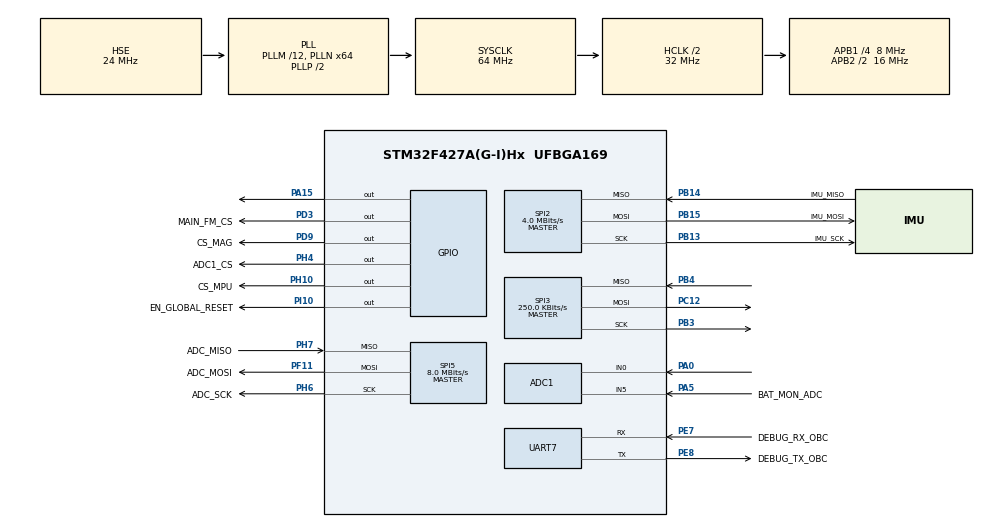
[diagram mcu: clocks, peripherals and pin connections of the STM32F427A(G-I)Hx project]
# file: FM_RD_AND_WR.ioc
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ADC1.Channel-3\#ChannelRegularConversion=ADC_CHANNEL_0
ADC1.NbrOfConversionFlag=1
ADC1.Rank-3\#ChannelRegularConversion=1
ADC1.SamplingTime-3\#ChannelRegularConversion=ADC_SAMPLETIME_3CYCLES
ADC1.master=1
Mcu.Family=STM32F4
Mcu.Name=STM32F427A(G-I)Hx
Mcu.Package=UFBGA169
NVIC.PriorityGroup=NVIC_PRIORITYGROUP_4
PA0/WKUP.Signal=ADCx_IN0
PA13.Mode=Serial_Wire
PA13.Signal=SYS_JTMS-SWDIO
PA14.Mode=Serial_Wire
PA14.Signal=SYS_JTCK-SWCLK
PA15.Signal=GPIO_Output
PA5.GPIO_Label=BAT_MON_ADC
PA5.Signal=ADCx_IN5
PB13.GPIO_Label=IMU_SCK
PB13.Mode=Full_Duplex_Master
PB13.Signal=SPI2_SCK
PB14.GPIO_Label=IMU_MISO
PB14.Mode=Full_Duplex_Master
PB14.Signal=SPI2_MISO
PB15.GPIO_Label=IMU_MOSI
PB15.Mode=Full_Duplex_Master
PB15.Signal=SPI2_MOSI
PB3.Mode=Full_Duplex_Master
PB3.Signal=SPI3_SCK
PB4.Mode=Full_Duplex_Master
PB4.Signal=SPI3_MISO
PC12.Mode=Full_Duplex_Master
PC12.Signal=SPI3_MOSI
PD3.GPIO_Label=MAIN_FM_CS
PD3.Signal=GPIO_Output
PD9.GPIO_Label=CS_MAG
PD9.Signal=GPIO_Output
PE7.GPIO_Label=DEBUG_RX_OBC
PE7.Mode=Asynchronous
PE7.Signal=UART7_RX
PE8.GPIO_Label=DEBUG_TX_OBC
PE8.Mode=Asynchronous
PE8.Signal=UART7_TX
PF11.GPIO_Label=ADC_MOSI
PF11.Mode=Full_Duplex_Master
PF11.Signal=SPI5_MOSI
PH0/OSC_IN.Mode=HSE-External-Oscillator
PH0/OSC_IN.Signal=RCC_OSC_IN
PH1/OSC_OUT.Mode=HSE-External-Oscillator
PH1/OSC_OUT.Signal=RCC_OSC_OUT
PH10.GPIO_Label=CS_MPU
PH10.Signal=GPIO_Output
PH4.GPIO_Label=ADC1_CS
PH4.Signal=GPIO_Output
PH6.GPIO_Label=ADC_SCK
PH6.Mode=Full_Duplex_Master
PH6.Signal=SPI5_SCK
PH7.GPIO_Label=ADC_MISO
PH7.Mode=Full_Duplex_Master
PH7.Signal=SPI5_MISO
PI10.GPIO_Label=EN_GLOBAL_RESET
PI10.Signal=GPIO_Output
ProjectManager.HeapSize=0x200
ProjectManager.StackSize=0x400
ProjectManager.TargetToolchain=STM32CubeIDE
RCC.48MHZClocksFreq_Value=32000000
RCC.AHBCLKDivider=RCC_SYSCLK_DIV2
RCC.AHBFreq_Value=32000000
RCC.APB1CLKDivider=RCC_HCLK_DIV4
RCC.APB1Freq_Value=8000000
RCC.APB1TimFreq_Value=16000000
RCC.APB2CLKDivider=RCC_HCLK_DIV2
RCC.APB2Freq_Value=16000000
RCC.APB2TimFreq_Value=32000000
RCC.CortexFreq_Value=32000000
RCC.HCLKFreq_Value=32000000
RCC.HSE_VALUE=24000000
RCC.HSI_VALUE=16000000
RCC.LSE_VALUE=32768
RCC.MSIAutoCalibration=DISABLED
RCC.MSICalibrationValue=0
RCC.PLLM=12
RCC.PLLN=64
RCC.PLLSourceVirtual=RCC_PLLSOURCE_HSE
RCC.SYSCLKFreq_VALUE=64000000
RCC.SYSCLKSource=RCC_SYSCLKSOURCE_PLLCLK
RCC.VCOOutputFreq_Value=128000000
SH.ADCx_IN0.0=ADC1_IN0,IN0
SH.ADCx_IN5.0=ADC1_IN5,IN5
SPI2.BaudRatePrescaler=SPI_BAUDRATEPRESCALER_2
SPI2.CalculateBaudRate=4.0 MBits/s
SPI2.Direction=SPI_DIRECTION_2LINES
SPI2.Mode=SPI_MODE_MASTER
SPI2.VirtualType=VM_MASTER
SPI3.BaudRatePrescaler=SPI_BAUDRATEPRESCALER_32
SPI3.CalculateBaudRate=250.0 KBits/s
SPI3.Direction=SPI_DIRECTION_2LINES
SPI3.Mode=SPI_MODE_MASTER
SPI3.VirtualType=VM_MASTER
SPI5.BaudRatePrescaler=SPI_BAUDRATEPRESCALER_2
SPI5.CalculateBaudRate=8.0 MBits/s
SPI5.Direction=SPI_DIRECTION_2LINES
SPI5.Mode=SPI_MODE_MASTER
SPI5.VirtualType=VM_MASTER
UART7.VirtualMode=Asynchronous
board=custom

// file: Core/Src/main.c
/* USER CODE BEGIN Header */
/**
 ******************************************************************************
 * @file           : main.c
 * @brief          : Main program body – Temp_BAT Data Collection
 ******************************************************************************
 */
/* USER CODE END Header */
#include "main.h"

/* USER CODE BEGIN Includes */
#include <stdio.h>
#include <string.h>
#include <math.h>

// --- REQUIRED ---
#include "flash_memory.h"
#include "ADS7953SDBT.h"

// --- COMMENTED OUT UNNECESSARY ---
/*
#include "MPU_sensor.h"
#include "Mag_sensor.h"
*/
/* USER CODE END Includes */

/* USER CODE BEGIN PTD */
// --- ADDED BATTERY DATA STRUCTURE FOR FLASH MEMORY ---
typedef struct {
    uint16_t raw_val;
    float voltage; // We are storing the temperature inside this float
} BAT_ProcessedData;
/* USER CODE END PTD */

/* USER CODE BEGIN PD */
#define FLASH_ID_STORAGE_ADDR 0x0000A000
#define TOTAL_SAMPLES         60

#define BAT_DATA_BASE         0x0000B000
#define BAT_ENTRY_SIZE        sizeof(BAT_ProcessedData)
/* USER CODE END PD */

ADC_HandleTypeDef hadc1;

SPI_HandleTypeDef hspi2;
SPI_HandleTypeDef hspi3;
SPI_HandleTypeDef hspi5;

UART_HandleTypeDef huart7;

/* USER CODE BEGIN PV */
// --- ACTIVE VARIABLES ---
uint16_t sample_count = 0;
uint8_t collection_complete = 0;

// --- SINGLE EXTERNAL ADC BUFFERS ---
uint16_t ext_adc1[16];
float ext_adc1_conv[16];
float ext_adc1_temp[16];
/* USER CODE END PV */

void SystemClock_Config(void);
static void MX_GPIO_Init(void);
static void MX_UART7_Init(void);
static void MX_SPI3_Init(void);
static void MX_SPI2_Init(void);
static void MX_ADC1_Init(void);
static void MX_SPI5_Init(void);

int main(void)
{

  /* MCU Configuration--------------------------------------------------------*/

  /* Reset of all peripherals, Initializes the Flash interface and the Systick. */
  HAL_Init();

  /* Configure the system clock */
  SystemClock_Config();

  /* Initialize all configured peripherals */
  MX_GPIO_Init();
  MX_UART7_Init();
  MX_SPI3_Init();
  MX_SPI2_Init();
  MX_ADC1_Init();
  MX_SPI5_Init();
  /* USER CODE BEGIN 2 */
  char uart_buf[256];

  // Give the hardware 100ms to wake up after bringing EN_GLOBAL_RESET HIGH in MX_GPIO_Init
  HAL_Delay(100);

  // --- FLASH MEMORY: Read and verify Chip ID (SPI3) ---
  sprintf(uart_buf, "\r\n=== Flash Chip ID Test ===\r\n");
  HAL_UART_Transmit(&huart7, (uint8_t*)uart_buf, strlen(uart_buf), 100);

  DEVICE_ID chip_id, readback_id;
  Read_ID(&hspi3, &chip_id);
  sprintf(uart_buf, "Read Chip ID: Manuf=0x%02X, Type=0x%02X, Cap=0x%02X\r\n",
          chip_id.MAN_ID, chip_id.M_TYPE, chip_id.M_CAP);
  HAL_UART_Transmit(&huart7, (uint8_t*)uart_buf, strlen(uart_buf), 100);

  Sector_Erase(&hspi3, FLASH_ID_STORAGE_ADDR, 4);
  HAL_Delay(200);
  Page_Write(&hspi3, FLASH_ID_STORAGE_ADDR, (uint8_t*)&chip_id, sizeof(DEVICE_ID));
  HAL_Delay(10);

  memset(&readback_id, 0, sizeof(DEVICE_ID));
  Bulk_Read(&hspi3, FLASH_ID_STORAGE_ADDR, (uint8_t*)&readback_id, sizeof(DEVICE_ID));
  sprintf(uart_buf, "Verified ID: Manuf=0x%02X, Type=0x%02X, Cap=0x%02X\r\n",
          readback_id.MAN_ID, readback_id.M_TYPE, readback_id.M_CAP);
  HAL_UART_Transmit(&huart7, (uint8_t*)uart_buf, strlen(uart_buf), 100);

  // Erase the data sector once before collection starts
  Sector_Erase(&hspi3, BAT_DATA_BASE, 4);
  HAL_Delay(200);

  sample_count = 0;
  collection_complete = 0;

  sprintf(uart_buf, "\r\nStarting Temp_BAT (Battery Temperature) collection...\r\n");
  HAL_UART_Transmit(&huart7, (uint8_t*)uart_buf, strlen(uart_buf), 100);

  /* USER CODE END 2 */

  /* Infinite loop */
  /* USER CODE BEGIN WHILE */
  while (1)
  {
    if (!collection_complete) {

      // --- 1. Read the Single External ADS7953 ---
      ADC_Operate(ext_adc1);

      // --- 2. Convert Raw data to Voltage using 2.5V Reference ---
      ADC1_RawConv_Data(ext_adc1_conv, ext_adc1);

      // --- 3. Apply Resistor Divider & Temperature Math ---
      ADC1_Volt_Temp_Conv(ext_adc1_conv, ext_adc1_temp);

      // --- 4. Prepare Battery Data (CHANNEL 9 is Temp_BAT!) ---
      BAT_ProcessedData bat_proc;
      bat_proc.raw_val = ext_adc1[9];          // Raw 12-bit value of Channel 9
      bat_proc.voltage = ext_adc1_temp[9];     // Fully calculated temperature

      // --- 5. Write to Flash ---
      uint32_t bat_addr = BAT_DATA_BASE + sample_count * BAT_ENTRY_SIZE;
      Page_Write(&hspi3, bat_addr, (uint8_t*)&bat_proc, BAT_ENTRY_SIZE);
      HAL_Delay(10);

      // --- 6. Print to UART Console ---
      sprintf(uart_buf, "Sample %2d: Temp_BAT Raw=%4d | Temp=%.2f C\r\n",
              sample_count, bat_proc.raw_val, bat_proc.voltage / 100.0f);
      HAL_UART_Transmit(&huart7, (uint8_t*)uart_buf, strlen(uart_buf), 100);

      sample_count++;

      if (sample_count >= TOTAL_SAMPLES) {
        collection_complete = 1;
        sprintf(uart_buf, "\r\nData collection complete. %d samples stored.\r\n", TOTAL_SAMPLES);
        HAL_UART_Transmit(&huart7, (uint8_t*)uart_buf, strlen(uart_buf), 100);
      }

      HAL_Delay(1000);   // 1 second interval
    } else {
      HAL_Delay(1000);
    }
    /* USER CODE END WHILE */

  }
}

void SystemClock_Config(void)
{
  RCC_OscInitTypeDef RCC_OscInitStruct = {0};
  RCC_ClkInitTypeDef RCC_ClkInitStruct = {0};

  /** Configure the main internal regulator output voltage
  */
  __HAL_RCC_PWR_CLK_ENABLE();
  __HAL_PWR_VOLTAGESCALING_CONFIG(PWR_REGULATOR_VOLTAGE_SCALE3);

  /** Initializes the RCC Oscillators according to the specified parameters
  * in the RCC_OscInitTypeDef structure.
  */
  RCC_OscInitStruct.OscillatorType = RCC_OSCILLATORTYPE_HSE;
  RCC_OscInitStruct.HSEState = RCC_HSE_ON;
  RCC_OscInitStruct.PLL.PLLState = RCC_PLL_ON;
  RCC_OscInitStruct.PLL.PLLSource = RCC_PLLSOURCE_HSE;
  RCC_OscInitStruct.PLL.PLLM = 12;
  RCC_OscInitStruct.PLL.PLLN = 64;
  RCC_OscInitStruct.PLL.PLLP = RCC_PLLP_DIV2;
  RCC_OscInitStruct.PLL.PLLQ = 4;
  if (HAL_RCC_OscConfig(&RCC_OscInitStruct) != HAL_OK)
  {
    Error_Handler();
  }

  /** Initializes the CPU, AHB and APB buses clocks
  */
  RCC_ClkInitStruct.ClockType = RCC_CLOCKTYPE_HCLK|RCC_CLOCKTYPE_SYSCLK
                              |RCC_CLOCKTYPE_PCLK1|RCC_CLOCKTYPE_PCLK2;
  RCC_ClkInitStruct.SYSCLKSource = RCC_SYSCLKSOURCE_PLLCLK;
  RCC_ClkInitStruct.AHBCLKDivider = RCC_SYSCLK_DIV2;
  RCC_ClkInitStruct.APB1CLKDivider = RCC_HCLK_DIV4;
  RCC_ClkInitStruct.APB2CLKDivider = RCC_HCLK_DIV2;

  if (HAL_RCC_ClockConfig(&RCC_ClkInitStruct, FLASH_LATENCY_1) != HAL_OK)
  {
    Error_Handler();
  }
}

static void MX_ADC1_Init(void)
{

  ADC_ChannelConfTypeDef sConfig = {0};

  /** Configure the global features of the ADC (Clock, Resolution, Data Alignment and number of conversion)
  */
  hadc1.Instance = ADC1;
  hadc1.Init.ClockPrescaler = ADC_CLOCK_SYNC_PCLK_DIV2;
  hadc1.Init.Resolution = ADC_RESOLUTION_12B;
  hadc1.Init.ScanConvMode = DISABLE;
  hadc1.Init.ContinuousConvMode = DISABLE;
  hadc1.Init.DiscontinuousConvMode = DISABLE;
  hadc1.Init.ExternalTrigConvEdge = ADC_EXTERNALTRIGCONVEDGE_NONE;
  hadc1.Init.ExternalTrigConv = ADC_SOFTWARE_START;
  hadc1.Init.DataAlign = ADC_DATAALIGN_RIGHT;
  hadc1.Init.NbrOfConversion = 1;
  hadc1.Init.DMAContinuousRequests = DISABLE;
  hadc1.Init.EOCSelection = ADC_EOC_SINGLE_CONV;
  if (HAL_ADC_Init(&hadc1) != HAL_OK)
  {
    Error_Handler();
  }

  /** Configure for the selected ADC regular channel its corresponding rank in the sequencer and its sample time.
  */
  sConfig.Channel = ADC_CHANNEL_0;
  sConfig.Rank = 1;
  sConfig.SamplingTime = ADC_SAMPLETIME_3CYCLES;
  if (HAL_ADC_ConfigChannel(&hadc1, &sConfig) != HAL_OK)
  {
    Error_Handler();
  }

}

static void MX_SPI2_Init(void)
{

  /* SPI2 parameter configuration*/
  hspi2.Instance = SPI2;
  hspi2.Init.Mode = SPI_MODE_MASTER;
  hspi2.Init.Direction = SPI_DIRECTION_2LINES;
  hspi2.Init.DataSize = SPI_DATASIZE_8BIT;
  hspi2.Init.CLKPolarity = SPI_POLARITY_LOW;
  hspi2.Init.CLKPhase = SPI_PHASE_1EDGE;
  hspi2.Init.NSS = SPI_NSS_SOFT;
  hspi2.Init.BaudRatePrescaler = SPI_BAUDRATEPRESCALER_2;
  hspi2.Init.FirstBit = SPI_FIRSTBIT_MSB;
  hspi2.Init.TIMode = SPI_TIMODE_DISABLE;
  hspi2.Init.CRCCalculation = SPI_CRCCALCULATION_DISABLE;
  hspi2.Init.CRCPolynomial = 10;
  if (HAL_SPI_Init(&hspi2) != HAL_OK)
  {
    Error_Handler();
  }

}

static void MX_SPI3_Init(void)
{

  /* SPI3 parameter configuration*/
  hspi3.Instance = SPI3;
  hspi3.Init.Mode = SPI_MODE_MASTER;
  hspi3.Init.Direction = SPI_DIRECTION_2LINES;
  hspi3.Init.DataSize = SPI_DATASIZE_8BIT;
  hspi3.Init.CLKPolarity = SPI_POLARITY_LOW;
  hspi3.Init.CLKPhase = SPI_PHASE_1EDGE;
  hspi3.Init.NSS = SPI_NSS_SOFT;
  hspi3.Init.BaudRatePrescaler = SPI_BAUDRATEPRESCALER_32;
  hspi3.Init.FirstBit = SPI_FIRSTBIT_MSB;
  hspi3.Init.TIMode = SPI_TIMODE_DISABLE;
  hspi3.Init.CRCCalculation = SPI_CRCCALCULATION_DISABLE;
  hspi3.Init.CRCPolynomial = 10;
  if (HAL_SPI_Init(&hspi3) != HAL_OK)
  {
    Error_Handler();
  }

}

static void MX_SPI5_Init(void)
{

  /* SPI5 parameter configuration*/
  hspi5.Instance = SPI5;
  hspi5.Init.Mode = SPI_MODE_MASTER;
  hspi5.Init.Direction = SPI_DIRECTION_2LINES;
  hspi5.Init.DataSize = SPI_DATASIZE_8BIT;
  hspi5.Init.CLKPolarity = SPI_POLARITY_LOW;
  hspi5.Init.CLKPhase = SPI_PHASE_1EDGE;
  hspi5.Init.NSS = SPI_NSS_SOFT;
  hspi5.Init.BaudRatePrescaler = SPI_BAUDRATEPRESCALER_2;
  hspi5.Init.FirstBit = SPI_FIRSTBIT_MSB;
  hspi5.Init.TIMode = SPI_TIMODE_DISABLE;
  hspi5.Init.CRCCalculation = SPI_CRCCALCULATION_DISABLE;
  hspi5.Init.CRCPolynomial = 10;
  if (HAL_SPI_Init(&hspi5) != HAL_OK)
  {
    Error_Handler();
  }

}

static void MX_UART7_Init(void)
{

  huart7.Instance = UART7;
  huart7.Init.BaudRate = 115200;
  huart7.Init.WordLength = UART_WORDLENGTH_8B;
  huart7.Init.StopBits = UART_STOPBITS_1;
  huart7.Init.Parity = UART_PARITY_NONE;
  huart7.Init.Mode = UART_MODE_TX_RX;
  huart7.Init.HwFlowCtl = UART_HWCONTROL_NONE;
  huart7.Init.OverSampling = UART_OVERSAMPLING_16;
  if (HAL_UART_Init(&huart7) != HAL_OK)
  {
    Error_Handler();
  }

}

static void MX_GPIO_Init(void)
{
  GPIO_InitTypeDef GPIO_InitStruct = {0};

  /* GPIO Ports Clock Enable */
  __HAL_RCC_GPIOB_CLK_ENABLE();
  __HAL_RCC_GPIOD_CLK_ENABLE();
  __HAL_RCC_GPIOC_CLK_ENABLE();
  __HAL_RCC_GPIOA_CLK_ENABLE();
  __HAL_RCC_GPIOI_CLK_ENABLE();
  __HAL_RCC_GPIOH_CLK_ENABLE();
  __HAL_RCC_GPIOE_CLK_ENABLE();
  __HAL_RCC_GPIOF_CLK_ENABLE();

  /*Configure GPIO pin Output Level */
  HAL_GPIO_WritePin(GPIOD, MAIN_FM_CS_Pin|CS_MAG_Pin, GPIO_PIN_RESET);

  /*Configure GPIO pin Output Level */
  HAL_GPIO_WritePin(GPIOA, GPIO_PIN_15, GPIO_PIN_RESET);

  /*Configure GPIO pin Output Level */
  HAL_GPIO_WritePin(EN_GLOBAL_RESET_GPIO_Port, EN_GLOBAL_RESET_Pin, GPIO_PIN_RESET);

  /*Configure GPIO pin Output Level */
  HAL_GPIO_WritePin(GPIOH, ADC1_CS_Pin|CS_MPU_Pin, GPIO_PIN_RESET);

  /*Configure GPIO pins : MAIN_FM_CS_Pin CS_MAG_Pin */
  GPIO_InitStruct.Pin = MAIN_FM_CS_Pin|CS_MAG_Pin;
  GPIO_InitStruct.Mode = GPIO_MODE_OUTPUT_PP;
  GPIO_InitStruct.Pull = GPIO_NOPULL;
  GPIO_InitStruct.Speed = GPIO_SPEED_FREQ_LOW;
  HAL_GPIO_Init(GPIOD, &GPIO_InitStruct);

  /*Configure GPIO pin : PA15 */
  GPIO_InitStruct.Pin = GPIO_PIN_15;
  GPIO_InitStruct.Mode = GPIO_MODE_OUTPUT_PP;
  GPIO_InitStruct.Pull = GPIO_NOPULL;
  GPIO_InitStruct.Speed = GPIO_SPEED_FREQ_LOW;
  HAL_GPIO_Init(GPIOA, &GPIO_InitStruct);

  /*Configure GPIO pin : EN_GLOBAL_RESET_Pin */
  GPIO_InitStruct.Pin = EN_GLOBAL_RESET_Pin;
  GPIO_InitStruct.Mode = GPIO_MODE_OUTPUT_PP;
  GPIO_InitStruct.Pull = GPIO_NOPULL;
  GPIO_InitStruct.Speed = GPIO_SPEED_FREQ_LOW;
  HAL_GPIO_Init(EN_GLOBAL_RESET_GPIO_Port, &GPIO_InitStruct);

  /*Configure GPIO pins : ADC1_CS_Pin CS_MPU_Pin */
  GPIO_InitStruct.Pin = ADC1_CS_Pin|CS_MPU_Pin;
  GPIO_InitStruct.Mode = GPIO_MODE_OUTPUT_PP;
  GPIO_InitStruct.Pull = GPIO_NOPULL;
  GPIO_InitStruct.Speed = GPIO_SPEED_FREQ_LOW;
  HAL_GPIO_Init(GPIOH, &GPIO_InitStruct);

}

void Error_Handler(void)
{
  __disable_irq();
  while (1)
  {
  }
}
